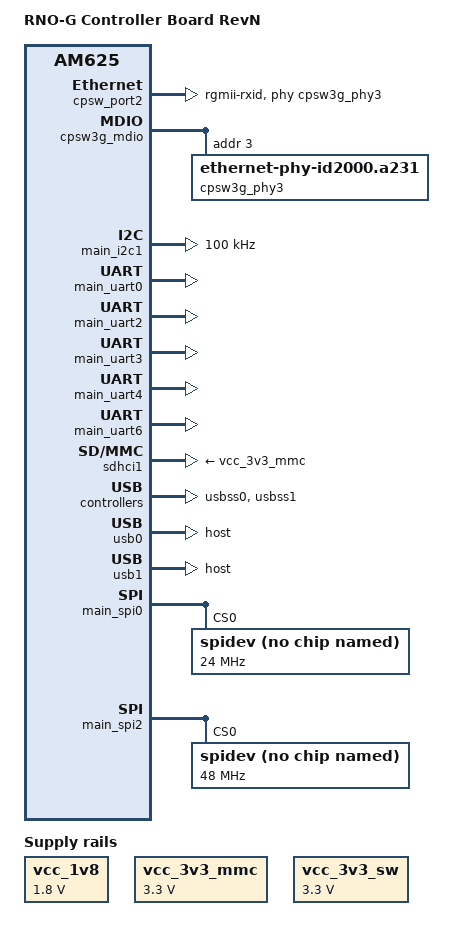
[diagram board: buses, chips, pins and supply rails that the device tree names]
// SPDX-License-Identifier: GPL-2.0-only OR MIT
/*
 * Copyright (C) 2025- RNO-G collaboration
 * Author: Cosmin Deaconu <cozzyd@kicp.uchicago.edu>

 * Modified lyra-rdk from
 * Copyright (C) 2022-2024 PHYTEC Messtechnik GmbH
 * Author: Wadim Egorov <w.egorov@phytec.de>
 *
 */

#include <dt-bindings/gpio/gpio.h>
#include <dt-bindings/input/input.h>
#include <dt-bindings/net/ti-dp83867.h>
#include "k3-am625.dtsi"
#include "k3-am62-phycore-som.dtsi"

/ {

	compatible = "rno-g,am625-rno-g-revN",
		     "phytec,am62-phycore-som", "ti,am625";
	model = "RNO-G Controller Board RevN";

	aliases {
		serial2 = &main_uart0;
		serial3 = &main_uart2;
		serial4 = &main_uart3;
		serial5 = &main_uart4;
		serial6 = &main_uart6;
		mmc1 = &sdhci1;
		usb0 = &usb0;
		usb1 = &usb1;
    spi1 = &main_spi0;
    spi2 = &main_spi2;
    ethernet1= &cpsw_port2;
    i2c1 = &main_i2c1;
	};

	keys {
		compatible = "gpio-keys";
		autorepeat;
		pinctrl-names = "default";
		pinctrl-0 = <&gpio_keys_pins_default>;

/*
		key-power {
			label = "Power Button";
			linux,code = <KEY_POWER>;
			gpios = <&main_gpio1 5 GPIO_ACTIVE_HIGH>;
		};
    */

	};

	vcc_1v8: regulator-vcc-1v8 {
		compatible = "regulator-fixed";
		regulator-name = "VCC_1V8";
		regulator-min-microvolt = <1800000>;
		regulator-max-microvolt = <1800000>;
		regulator-always-on;
		regulator-boot-on;
	};


	vcc_3v3_mmc: regulator-vcc-3v3-mmc {
		compatible = "regulator-fixed";
		regulator-name = "VCC_3V3_MMC";
		regulator-min-microvolt = <3300000>;
		regulator-max-microvolt = <3300000>;
		regulator-always-on;
		regulator-boot-on;
		bootph-all;
	};

	vcc_3v3_sw: regulator-vcc-3v3-sw {
		compatible = "regulator-fixed";
		regulator-name = "VCC_3V3_SW";
		regulator-min-microvolt = <3300000>;
		regulator-max-microvolt = <3300000>;
		regulator-always-on;
		regulator-boot-on;
	};
};

&main_pmx0 {

	gpio_keys_pins_default: gpio-keys-default-pins {
		pinctrl-single,pins = <
			AM62X_IOPAD(0x1d4, PIN_INPUT, 7) /* (B15) UART0_RTSn.GPIO1_23 */
		>;
	};

	main_i2c1_pins_default: main-i2c1-default-pins {
		pinctrl-single,pins = <
			AM62X_IOPAD(0x1e8, PIN_INPUT_PULLUP, 0) /* (B17) I2C1_SCL */
			AM62X_IOPAD(0x1ec, PIN_INPUT_PULLUP, 0) /* (A17) I2C1_SDA */
		>;
	};

	main_mmc1_pins_default: main-mmc1-default-pins {
		pinctrl-single,pins = <
			AM62X_IOPAD(0x23c, PIN_INPUT_PULLUP, 0) /* (A21) MMC1_CMD */
			AM62X_IOPAD(0x234, PIN_INPUT_PULLDOWN, 0) /* (B22) MMC1_CLK */
			AM62X_IOPAD(0x230, PIN_INPUT_PULLUP, 0) /* (A22) MMC1_DAT0 */
			AM62X_IOPAD(0x22c, PIN_INPUT_PULLUP, 0) /* (B21) MMC1_DAT1 */
			AM62X_IOPAD(0x228, PIN_INPUT_PULLUP, 0) /* (C21) MMC1_DAT2 */
			AM62X_IOPAD(0x224, PIN_INPUT_PULLUP, 0) /* (D22) MMC1_DAT3 */
			AM62X_IOPAD(0x240, PIN_INPUT_PULLUP, 0) /* (D17) MMC1_SDCD */
		>;
		bootph-all;
	};

	main_uart0_pins_default: main-uart0-default-pins {
		pinctrl-single,pins = <
			AM62X_IOPAD(0x1c8, PIN_INPUT, 0) /* (D14) UART0_RXD */
			AM62X_IOPAD(0x1cc, PIN_OUTPUT, 0) /* (E14) UART0_TXD */
		>;
		bootph-all;
	};

	main_uart2_pins_default: main-uart2-default-pins {
		pinctrl-single,pins = <
			AM62X_IOPAD(0x1d0, PIN_INPUT, 3) /* (A15) UARTO_CTSn.UART2_RXD */
			AM62X_IOPAD(0x1d4, PIN_OUTPUT, 3) /* (B15) UART0.RTSn.UART2_TXD */
		>;
		bootph-pre-ram;
	};

	main_uart4_pins_default: main-uart4-default-pins {
		pinctrl-single,pins = <
			AM62X_IOPAD(0x0124, PIN_INPUT, 3) /* (A23) MMC2_SDCD.UART4_RXD */
			AM62X_IOPAD(0x0128, PIN_OUTPUT, 3) /* (B23) MMC2_SDWP.UART4_TXD */
		>;
		bootph-pre-ram;
	};

	main_uart3_pins_default: main-uart3-default-pins {
		pinctrl-single,pins = <
			AM62X_IOPAD(0x0c0, PIN_INPUT, 4) /* (W25) VOUT0_DATA2.UART3_RXD */
			AM62X_IOPAD(0x0c4, PIN_OUTPUT, 4) /* (W24) VOUT0_DATA3.UART3_TXD */
		>;
		bootph-pre-ram;
	};

	main_uart6_pins_default: main-uart6-default-pins {
		pinctrl-single,pins = <
			AM62X_IOPAD(0x118, PIN_INPUT, 4) /* (D25) MMC2_CLK.UART6_RXD */
			AM62X_IOPAD(0x120, PIN_OUTPUT, 4) /* (C24) MMC2_CMD.UART6_TXD */
		>;
		bootph-pre-ram;
	};



	main_usb1_pins_default: main-usb1-default-pins {
		pinctrl-single,pins = <
			AM62X_IOPAD(0x258, PIN_OUTPUT, 0) /* (F18) USB1_DRVVBUS */
		>;
	};


	main_usb0_pins_default: main-usb0-default-pins {
		pinctrl-single,pins = <
			AM62X_IOPAD(0x254, PIN_OUTPUT, 0) /* (C20) USB0_DRVVBUS */
		>;
  };

	main_spi0_pins_default: main-spi0-pins-default {
		pinctrl-single,pins = <
		AM62X_IOPAD(0x01bc, PIN_INPUT, 0)       /* (A14) SPI0_CLK */
		AM62X_IOPAD(0x01b4, PIN_OUTPUT, 0)      /* (A13) SPI0_CS0 */
		AM62X_IOPAD(0x01c0, PIN_OUTPUT, 0)      /* (B13) SPI0_D0 */
		AM62X_IOPAD(0x01c4, PIN_INPUT, 0)       /* (B14) SPI0_D1 */
		>;
	};

	main_spi2_pins_default: main-spi2-pins-default {
		pinctrl-single,pins = <
			AM62X_IOPAD(0x01b0, PIN_INPUT, 1)       /* (A20, mux1) SPI2_CLK */
			AM62X_IOPAD(0x01a4, PIN_OUTPUT, 1)      /* (B20, mux1) SPI2_CS1 */
			AM62X_IOPAD(0x0194, PIN_OUTPUT, 1)      /* (B19, mux1) SPI2_D0 */
			AM62X_IOPAD(0x0198, PIN_INPUT, 1)       /* (A19, mux1) SPI2_D1 */
		>;
	};


	main_rgmii2_pins_default: main-rgmii2-pins-default {
		pinctrl-single,pins = <
			AM62X_IOPAD(0x184, PIN_INPUT, 0) /* (AE23) RGMII2_RD0 */
			AM62X_IOPAD(0x188, PIN_INPUT, 0) /* (AB20) RGMII2_RD1 */
			AM62X_IOPAD(0x18c, PIN_INPUT, 0) /* (AC21) RGMII2_RD2 */
			AM62X_IOPAD(0x190, PIN_INPUT, 0) /* (AE22) RGMII2_RD3 */
			AM62X_IOPAD(0x180, PIN_INPUT, 0) /* (AD23) RGMII2_RXC */
			AM62X_IOPAD(0x17c, PIN_INPUT, 0) /* (AD22) RGMII2_RX_CTL */
			AM62X_IOPAD(0x16c, PIN_OUTPUT, 0) /* (Y18) RGMII2_TD0 */
			AM62X_IOPAD(0x170, PIN_OUTPUT, 0) /* (AA18) RGMII2_TD1 */
			AM62X_IOPAD(0x174, PIN_OUTPUT, 0) /* (AD21) RGMII2_TD2 */
			AM62X_IOPAD(0x178, PIN_OUTPUT, 0) /* (AC20) RGMII2_TD3 */
			AM62X_IOPAD(0x168, PIN_OUTPUT, 0) /* (AE21) RGMII2_TXC */
			AM62X_IOPAD(0x164, PIN_OUTPUT, 0) /* (AA19) RGMII2_TX_CTL */
		>;
	};

};

&cpsw3g {
	pinctrl-names = "default";
	pinctrl-0 = <&main_rgmii1_pins_default>;
};

&cpsw_port2 {
    phy-mode = "rgmii-rxid";
      phy-handle = <&cpsw3g_phy3>;
};

&cpsw3g_mdio {
    cpsw3g_phy3: ethernet-phy@3 {
          compatible = "ethernet-phy-id2000.a231", "ethernet-phy-ieee802.3-c22";
           reg = <3>;
           ti,clk-output-sel = <DP83867_CLK_O_SEL_OFF>;
           ti,rx-internal-delay = <DP83867_RGMIIDCTL_2_50_NS>;
           ti,fifo-depth = <DP83867_PHYCR_FIFO_DEPTH_4_B_NIB>;
           };
};



&main_i2c1 {
	pinctrl-names = "default";
	pinctrl-0 = <&main_i2c1_pins_default>;
	clock-frequency = <100000>;
	status = "okay";
};

&i2c_som_rtc {
    enable-level-switching-mode;
};

&main_uart0 {
	pinctrl-names = "default";
	pinctrl-0 = <&main_uart0_pins_default>;
	bootph-all;
	status = "okay";
};

&main_uart2 {
	pinctrl-names = "default";
	pinctrl-0 = <&main_uart2_pins_default>;
	bootph-pre-ram;
	status = "okay";
};

&main_uart3 {
	pinctrl-names = "default";
	pinctrl-0 = <&main_uart3_pins_default>;
	bootph-pre-ram;
	status = "okay";
};

&main_uart4 {
	pinctrl-names = "default";
	pinctrl-0 = <&main_uart4_pins_default>;
	bootph-pre-ram;
	status = "okay";
};



&main_uart6 {
	pinctrl-names = "default";
	pinctrl-0 = <&main_uart3_pins_default>;
	bootph-pre-ram;
	status = "okay";
};


&sdhci1 {
	vmmc-supply = <&vcc_3v3_mmc>;
	vqmmc-supply = <&vddshv5_sdio>;
	pinctrl-names = "default";
	pinctrl-0 = <&main_mmc1_pins_default>;
	disable-wp;
	no-1-8-v;
	bootph-all;
	status = "okay";
};

&usbss0 {
	ti,vbus-divider;
	bootph-all;
	status = "okay";
};

&usbss1 {
	ti,vbus-divider;
	status = "okay";
};

&usb0 {
	dr_mode = "host";
	pinctrl-names = "default";
	pinctrl-0 = <&main_usb0_pins_default>;
};

&usb1 {
	dr_mode = "host";
	pinctrl-names = "default";
	pinctrl-0 = <&main_usb1_pins_default>;
};

&main_spi0 {
	#address-cells = <1>;
	#size-cells = <0>;

	status = "okay";
	pinctrl-names = "default";
	pinctrl-0 = <&main_spi0_pins_default>;
	ti,pindir-d0-out-d1-in = <1>;

	spidev@0 {
		spi-max-frequency = <24000000>;
		reg = <0>;
		compatible = "rohm,dh2228fv";
	};
};

&main_spi2 {
	#address-cells = <1>;
	#size-cells = <0>;

	status = "okay";
	pinctrl-names = "default";
	pinctrl-0 = <&main_spi2_pins_default>;
	ti,pindir-d0-out-d1-in = <1>;

	spidev@0 {
		spi-max-frequency = <48000000>;
		reg = <0>;
		compatible = "rohm,dh2228fv";
  };
};
